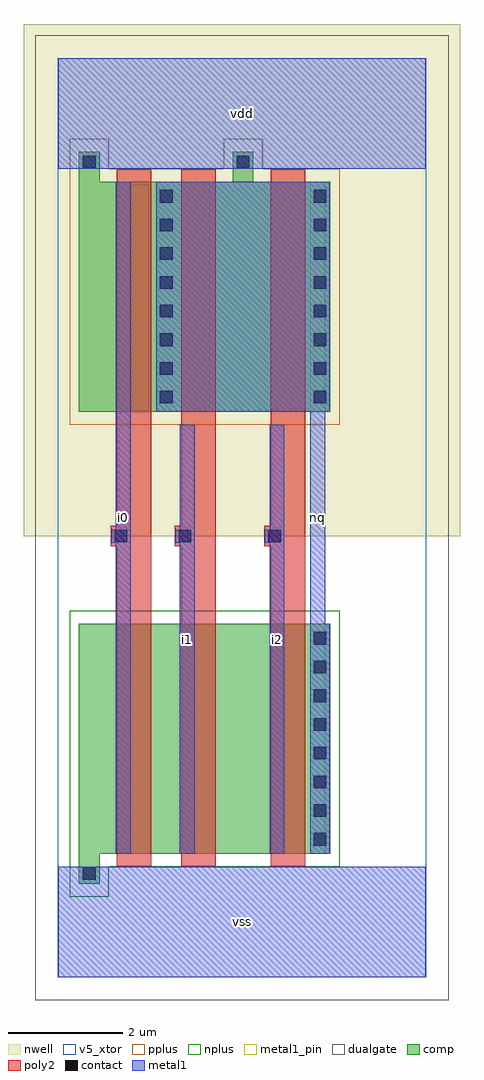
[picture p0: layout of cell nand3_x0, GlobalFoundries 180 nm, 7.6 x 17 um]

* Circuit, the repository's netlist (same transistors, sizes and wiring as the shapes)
* nand3_x0
.subckt nand3_x0 vdd vss nq i0 i1 i2
Mn0 vss i0 int0 vss nfet_06v0 l=0.6um w=4.0um
Mp0 vdd i0 nq vdd pfet_06v0 l=0.6um w=4.0um
Mn1 int0 i1 int1 vss nfet_06v0 l=0.6um w=4.0um
Mp1 nq i1 vdd vdd pfet_06v0 l=0.6um w=4.0um
Mn2 int1 i2 nq vss nfet_06v0 l=0.6um w=4.0um
Mp2 vdd i2 nq vdd pfet_06v0 l=0.6um w=4.0um
.ends nand3_x0

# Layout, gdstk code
import gdstk
lib = gdstk.Library(unit=1e-6, precision=1e-09)
def R(c, l, rs):  # rectangles x0, y0, x1, y1
    for r in rs: c.add(gdstk.rectangle(r[:2], r[2:], *l))
def A(c, l, x, y, w, h, nx, ny, dx, dy):  # array of equal rectangles
    R(c, l, [(x+i*dx, y+j*dy, x+i*dx+w, y+j*dy+h) for i in range(nx) for j in range(ny)])
def P(c, l, *ps):  # polygons
    for p in ps: c.add(gdstk.Polygon(p, *l))
nwell = (21, 0)
comp = (22, 0)
poly2 = (30, 0)
pplus = (31, 0)
nplus = (32, 0)
contact = (33, 0)
metal1 = (34, 0)
metal1_pin = (34, 10)
dualgate = (55, 0)
v5_xtor = (112, 1)

nand3_x0 = lib.new_cell('nand3_x0')
R(nand3_x0, nwell, [(-0.6,7.68,7,16.6)])
P(nand3_x0, comp, [(0.36,1.625),(0.36,6.15),(4.74,6.15),(4.74,2.15),(0.72,2.15),(0.72,1.625)],
  [(0.36,9.85),(0.36,14.375),(0.72,14.375),(0.72,13.85),(3.04,13.85),(3.04,14.375),(3.4,14.375),(3.4,13.85),(4.74,13.85),(4.74,9.85)])
P(nand3_x0, poly2, [(1.02,1.93),(1.02,7.5),(0.91,7.5),(0.91,7.86),(1.02,7.86),(1.02,14.07),(1.62,14.07),(1.62,1.93)],
  [(2.14,1.93),(2.14,7.5),(2.03,7.5),(2.03,7.86),(2.14,7.86),(2.14,14.07),(2.74,14.07),(2.74,1.93)],
  [(3.7,1.93),(3.7,7.5),(3.59,7.5),(3.59,7.86),(3.7,7.86),(3.7,14.07),(4.3,14.07),(4.3,1.93)])
P(nand3_x0, pplus, [(0.2,9.62),(0.2,14.605),(0.88,14.605),(0.88,14.08),(2.88,14.08),(2.88,14.605),(3.56,14.605),(3.56,14.08),(4.9,14.08),(4.9,9.62)])
P(nand3_x0, nplus, [(0.2,1.395),(0.2,6.38),(4.9,6.38),(4.9,1.92),(0.88,1.92),(0.88,1.395)])
A(nand3_x0, contact, 4.45, 2.29, 0.22, 0.22, 1, 8, 0, 0.5)
A(nand3_x0, contact, 1.77, 9.99, 0.22, 0.22, 1, 8, 0, 0.5)
A(nand3_x0, contact, 4.45, 9.99, 0.22, 0.22, 1, 8, 0, 0.5)
R(nand3_x0, contact, [(0.43,1.695,0.65,1.915), (0.98,7.57,1.2,7.79), (2.1,7.57,2.32,7.79), (3.66,7.57,3.88,7.79), (0.43,14.085,0.65,14.305), (3.11,14.085,3.33,14.305)])
R(nand3_x0, metal1, [(0,0,6.4,1.92), (0,14.08,6.4,16)])
P(nand3_x0, metal1, [(1,2.15),(1,7.565),(0.92,7.565),(0.92,7.795),(1,7.795),(1,13.85),(1.26,13.85),(1.26,2.15)],
  [(4.39,2.15),(4.39,9.85),(1.71,9.85),(1.71,13.85),(4.73,13.85),(4.73,9.85),(4.65,9.85),(4.65,6.15),(4.73,6.15),(4.73,2.15)],
  [(2.12,2.15),(2.12,7.565),(2.04,7.565),(2.04,7.795),(2.12,7.795),(2.12,9.62),(2.38,9.62),(2.38,2.15)],
  [(3.68,2.15),(3.68,7.565),(3.6,7.565),(3.6,7.795),(3.68,7.795),(3.68,9.62),(3.94,9.62),(3.94,2.15)])
R(nand3_x0, metal1_pin, [(0,0,6.4,1.92), (1,2.15,1.26,13.85), (2.12,2.15,2.38,9.62), (3.68,2.15,3.94,9.62), (4.39,2.15,4.65,13.85), (0,14.08,6.4,16)])
R(nand3_x0, dualgate, [(-0.4,-0.4,6.8,16.4)])
R(nand3_x0, v5_xtor, [(-0.005,-0.005,6.405,16.005)])
nand3_x0.add(gdstk.Label('vss', (3.2,0.96), layer=34, texttype=10))
nand3_x0.add(gdstk.Label('vdd', (3.2,15.04), layer=34, texttype=10))
nand3_x0.add(gdstk.Label('i0', (1.13,8), layer=34, texttype=10))
nand3_x0.add(gdstk.Label('nq', (4.52,8), layer=34, texttype=10))
nand3_x0.add(gdstk.Label('i1', (2.25,5.885), layer=34, texttype=10))
nand3_x0.add(gdstk.Label('i2', (3.81,5.885), layer=34, texttype=10))

lib.write_gds('nand3_x0.gds')
